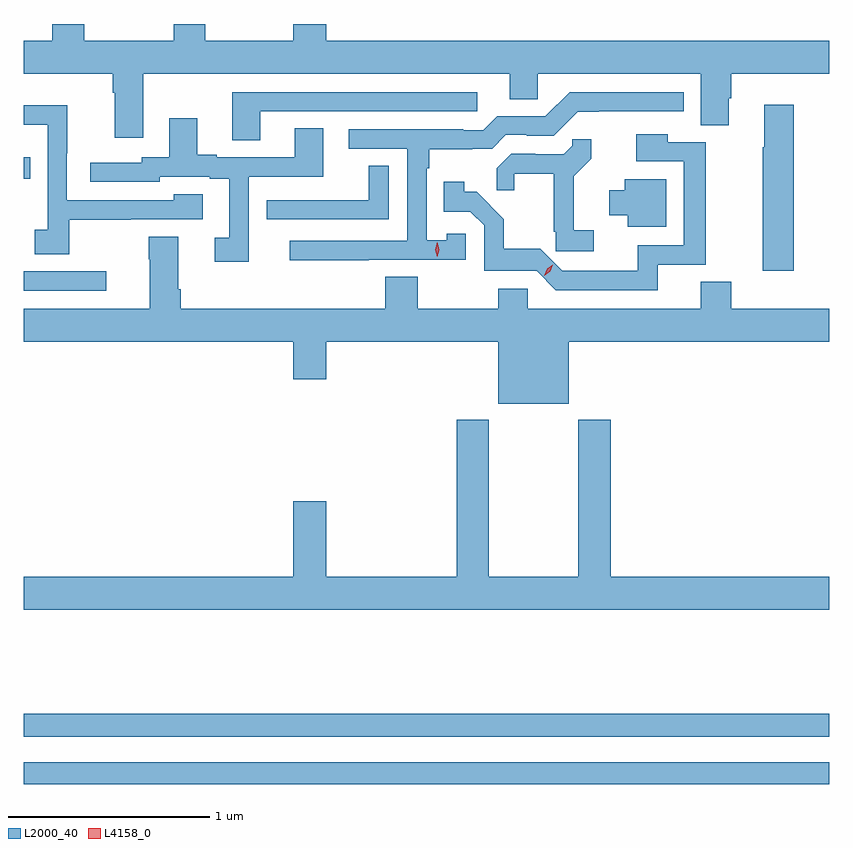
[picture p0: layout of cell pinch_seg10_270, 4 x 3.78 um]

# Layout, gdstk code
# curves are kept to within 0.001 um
import gdstk
lib = gdstk.Library(unit=1e-6, precision=1e-09)
def R(c, l, rs):  # rectangles x0, y0, x1, y1
    for r in rs: c.add(gdstk.rectangle(r[:2], r[2:], *l))
def P(c, l, *ps):  # polygons
    for p in ps: c.add(gdstk.Polygon(p, *l))
L2000_40 = (2000, 40)
L4158_0 = (4158, 0)

pinch_seg10_270 = lib.new_cell('pinch_seg10_270')
R(pinch_seg10_270, L2000_40, [(499.335,1312.77,503.335,1312.878), (499.335,1313.004,503.335,1313.12), (499.335,1315.221,499.744,1315.317), (499.335,1315.776,499.367,1315.885)])
P(pinch_seg10_270, L2000_40, [(499.635,1316.546),(499.475,1316.546),(499.475,1316.464),(499.335,1316.464),(499.335,1316.3),(499.775,1316.3),(499.775,1316.204),(499.787,1316.204),(499.787,1315.98),(499.927,1315.98),(499.927,1316.3),(501.749,1316.3),(501.749,1316.173),(501.887,1316.173),(501.887,1316.3),(502.697,1316.3),(502.697,1316.044),(502.837,1316.044),(502.837,1316.178),(502.85,1316.178),(502.85,1316.3),(503.335,1316.3),(503.335,1316.464),(500.836,1316.464),(500.836,1316.546),(500.672,1316.546),(500.672,1316.464),(500.235,1316.464),(500.235,1316.546),(500.08,1316.546),(500.08,1316.464),(499.635,1316.464)],
  [(500.509,1316.112),(501.586,1316.112),(501.586,1316.208),(500.369,1316.208),(500.369,1315.969),(500.509,1315.969)],
  [(501.047,1315.374),(501.531,1315.374),(501.531,1315.503),(501.435,1315.503),(501.435,1315.471),(501.336,1315.471),(501.336,1315.829),(501.349,1315.829),(501.349,1315.923),(501.563,1315.923),(501.563,1315.927),(501.661,1315.927),(501.729,1315.995),(501.832,1315.995),(501.832,1315.992),(501.968,1315.992),(502.087,1316.111),(502.612,1316.112),(502.612,1316.208),(502.046,1316.208),(501.926,1316.088),(501.687,1316.088),(501.618,1316.019),(501.518,1316.019),(501.518,1316.022),(500.949,1316.022),(500.949,1315.926),(501.24,1315.926),(501.24,1315.47),(500.655,1315.47),(500.655,1315.372),(501.047,1315.372)],
  [(503.159,1316.146),(503.012,1316.146),(503.012,1315.933),(503.005,1315.933),(503.005,1315.32),(503.159,1315.32)],
  [(499.561,1315.573),(499.865,1315.573),(499.865,1315.575),(500.224,1315.575),(500.224,1315.699),(500.079,1315.699),(500.079,1315.671),(499.548,1315.671),(499.548,1315.904),(499.551,1315.904),(499.551,1316.143),(499.335,1316.143),(499.335,1316.045),(499.452,1316.045),(499.452,1315.524),(499.389,1315.524),(499.389,1315.402),(499.561,1315.402)],
  [(500.451,1315.788),(500.821,1315.788),(500.821,1316.027),(500.681,1316.027),(500.681,1315.884),(500.293,1315.884),(500.293,1315.897),(500.197,1315.897),(500.197,1316.077),(500.057,1316.077),(500.057,1315.884),(499.92,1315.884),(499.92,1315.857),(499.665,1315.857),(499.665,1315.761),(500.01,1315.761),(500.01,1315.788),(500.258,1315.788),(500.258,1315.776),(500.354,1315.776),(500.354,1315.485),(500.283,1315.485),(500.283,1315.365),(500.451,1315.365)],
  [(502.484,1315.35),(502.723,1315.35),(502.723,1315.959),(502.533,1315.959),(502.533,1315.999),(502.377,1315.999),(502.377,1315.863),(502.614,1315.863),(502.614,1315.446),(502.384,1315.446),(502.384,1315.32),(502.009,1315.32),(501.9,1315.429),(501.72,1315.429),(501.72,1315.577),(501.585,1315.712),(501.522,1315.712),(501.522,1315.762),(501.421,1315.762),(501.421,1315.614),(501.552,1315.614),(501.621,1315.545),(501.621,1315.32),(501.882,1315.32),(501.978,1315.224),(502.484,1315.224)],
  [(502.165,1315.521),(502.066,1315.521),(502.066,1315.79),(502.153,1315.876),(502.153,1315.974),(502.059,1315.974),(502.059,1315.941),(502.017,1315.899),(501.875,1315.899),(501.875,1315.902),(501.755,1315.902),(501.683,1315.829),(501.683,1315.719),(501.77,1315.719),(501.77,1315.802),(501.968,1315.802),(501.968,1315.513),(501.977,1315.513),(501.977,1315.418),(502.165,1315.418)],
  [(501.147,1315.841),(501.049,1315.841),(501.049,1315.671),(500.653,1315.671),(500.653,1315.67),(500.541,1315.67),(500.541,1315.575),(501.147,1315.575)],
  [(502.525,1315.774),(502.319,1315.774),(502.319,1315.719),(502.244,1315.719),(502.244,1315.595),(502.334,1315.595),(502.334,1315.538),(502.525,1315.538)],
  [(502.042,1314.968),(503.335,1314.968),(503.335,1315.132),(502.85,1315.132),(502.85,1315.265),(502.697,1315.265),(502.697,1315.132),(501.837,1315.132),(501.837,1315.23),(501.691,1315.23),(501.691,1315.132),(501.291,1315.132),(501.291,1315.289),(501.131,1315.289),(501.131,1315.132),(500.114,1315.132),(500.114,1315.228),(500.101,1315.228),(500.101,1315.489),(499.954,1315.489),(499.954,1315.376),(499.961,1315.376),(499.961,1315.132),(499.335,1315.132),(499.335,1314.968),(500.672,1314.968),(500.672,1314.78),(500.836,1314.78),(500.836,1314.968),(501.692,1314.968),(501.692,1314.659),(502.042,1314.659)],
  [(503.335,1313.8),(502.25,1313.8),(502.25,1314.58),(502.09,1314.58),(502.09,1313.8),(501.645,1313.8),(501.645,1314.58),(501.485,1314.58),(501.485,1313.8),(500.836,1313.8),(500.836,1314.175),(500.672,1314.175),(500.672,1313.8),(499.335,1313.8),(499.335,1313.636),(503.335,1313.636)])
P(pinch_seg10_270, L4158_0, [(501.92,1315.296),(501.92,1315.296),(501.934,1315.329),(501.963,1315.35),(501.963,1315.35),(501.963,1315.35),(501.949,1315.317),(501.92,1315.296)],
  [(501.389,1315.389),(501.389,1315.39),(501.379,1315.425),(501.389,1315.461),(501.389,1315.461),(501.389,1315.461),(501.399,1315.425),(501.389,1315.39)])

lib.write_gds('pinch_seg10_270.gds')
